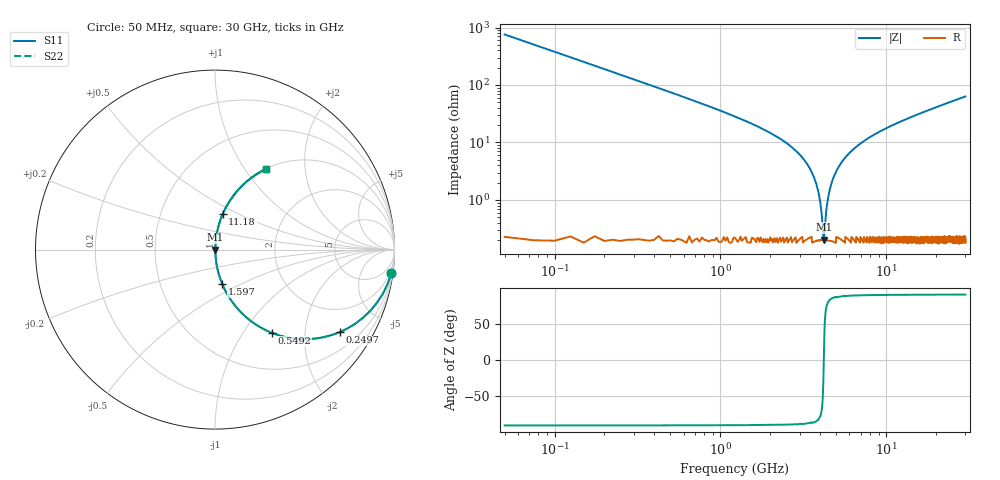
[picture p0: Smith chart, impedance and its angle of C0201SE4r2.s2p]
!	AVX Thin Film Operation 	Date: April 2014
!	Description: Accu-P® Series, Thin Film  SMD RF Capacitor
!	Part Number: 02013K4R2ABSTR
# MHZ S MA R 50
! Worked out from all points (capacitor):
!   1201 points, 50 MHz to 30 GHz, reference 50 ohm
!   read as one part in series: C = 4.2 pF near 199.8 MHz
!   lowest |Z| = 205 mohm at 4.193 GHz (marker M1)
!   series resonance near 4.201 GHz, so ESL is about 340 pH
!   S11 on the Smith chart (normalised r, x): 50 MHz: 1, -15; 249.7 MHz: 1.00, -3.03; 549.2 MHz: 1.00, -1.36; 1.597 GHz: 1.00, -0.40; 11.18 GHz: 1.00, +0.41; 30 GHz: 1.00, +1.26
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50  0.991 -7.5  0.131 82.5  0.131 82.5  0.991 -7.5
249.667  0.834 -33.4  0.551 56.5  0.551 56.5  0.834 -33.4
549.167  0.561 -55.7  0.826 34.1  0.826 34.1  0.561 -55.7
948.5  0.354 -69.0  0.933 20.7  0.933 20.7  0.354 -69.0
1597.417  0.198 -78.0  0.978 11.4  0.978 11.4  0.198 -78.0
3419.375  0.037 -84.7  0.997 2.1  0.997 2.1  0.037 -84.7
3793.75  0.019 -82.6  0.998 1.1  0.998 1.1  0.019 -82.6
3943.5  0.012 -79.2  0.998 0.7  0.998 0.7  0.012 -79.2
4093.25  0.005109 -66.2  0.998 0.3  0.998 0.3  0.005109 -66.2
4193.083  0.002065 -9.7  0.998 0.0  0.998 0.0  0.002065 -9.7
4292.917  0.004389 62.1  0.998 -0.2  0.998 -0.2  0.004389 62.1
4467.625  0.011 79.0  0.998 -0.6  0.998 -0.6  0.011 79.0
4617.375  0.017 82.2  0.998 -1.0  0.998 -1.0  0.017 82.2
5041.667  0.033 84.6  0.997 -1.9  0.997 -1.9  0.033 84.6
5765.458  0.058 84.7  0.996 -3.3  0.996 -3.3  0.058 84.7
6713.875  0.087 83.7  0.994 -5.0  0.994 -5.0  0.087 83.7
10058.29  0.175 79.3  0.983 -10.1  0.983 -10.1  0.175 79.3
11181.42  0.202 77.8  0.977 -11.6  0.977 -11.6  0.202 77.8
15025  0.285 73.1  0.957 -16.5  0.957 -16.5  0.285 73.1
20016.67  0.379 67.4  0.923 -22.3  0.923 -22.3  0.379 67.4
25033.29  0.462 62.2  0.885 -27.5  0.885 -27.5  0.462 62.2
30000  0.533 57.6  0.844 -32.2  0.844 -32.2  0.533 57.6
